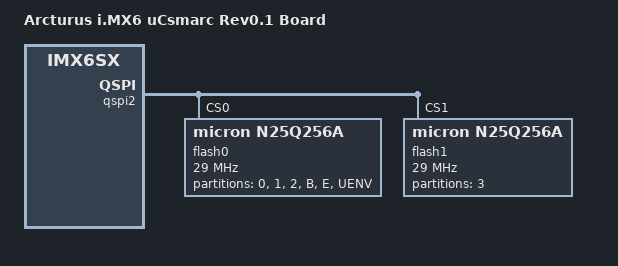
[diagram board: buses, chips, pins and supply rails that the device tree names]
/*
 * Copyright (C) 2015 Freescale Semiconductor, Inc.
 *
 * This program is free software; you can redistribute it and/or modify
 * it under the terms of the GNU General Public License version 2 as
 * published by the Free Software Foundation.
 */

#include "imx6sx-sdb.dtsi"

/ {
	model = "Arcturus i.MX6 uCsmarc Rev0.1 Board";

	regulators {
		/* Transceiver EN/STBY is active low on RevB board */
		reg_can_stby: regulator@10 {
			gpio = <&gpio4 27 GPIO_ACTIVE_LOW>;
		};
	};
};

&cpu0 {
	operating-points = <
		/* kHz    uV */
		996000  1250000
		792000  1175000
		396000  1175000
		198000	1175000
		>;
	fsl,soc-operating-points = <
		/* ARM kHz      SOC uV */
		996000	1250000
		792000	1175000
		396000	1175000
		198000	1175000
	>;
	arm-supply = <&sw1a_reg>;
	soc-supply = <&sw1a_reg>;
	fsl,arm-soc-shared = <1>;
};

&qspi2 {
	pinctrl-names = "default";
	pinctrl-0 = <&pinctrl_qspi2>;
	status = "okay";

	ddrsmp=<0>;

	flash0: n25q256a@0 {
		#address-cells = <1>;
		#size-cells = <1>;
		compatible = "micron,n25q256a";
		spi-max-frequency = <29000000>;
		reg = <0>;


		partition@100000 {
			/* 7MB - PART 0 */
			reg = <0x00100000 0x00700000>;
			label = "0";
		};

		partition@800000 {
			/* 24MB - PART 1 */
			reg = <0x00800000 0x01780000>;
			label = "1";
		};

		partition@1f80000 {
			/* 0.5MB - part 2 */
			reg = <0x01f80000 0x00080000>;
			label = "2";
		};

		partition@0 {
			/* 0.5MB - part 3 (bootloader) */
			reg = <0x00000000 0x00080000>;
			label = "B";
		};

		partition@80000 {
			/* 256KB - part 4 (bootloader env var) */
			reg = <0x00080000 0x00040000>;
			label = "E";
		};

		partition@C0000 {
			/* 256KB - part5 (kernel env var) */
			reg = <0x000C0000 0x00040000>;
			label = "UENV";
		};
	};

	flash1: n25q256a@1 {
		#address-cells = <1>;
		#size-cells = <1>;
		compatible = "micron,n25q256a";
		spi-max-frequency = <29000000>;
		reg = <1>;

		partition@3 {
			label = "3";
			reg = <0x0 0x2000000>;
		};
	};
};

&usbphy1 {
	tx-d-cal = <0x5>;
};

&usbphy2 {
	tx-d-cal = <0x5>;
};
